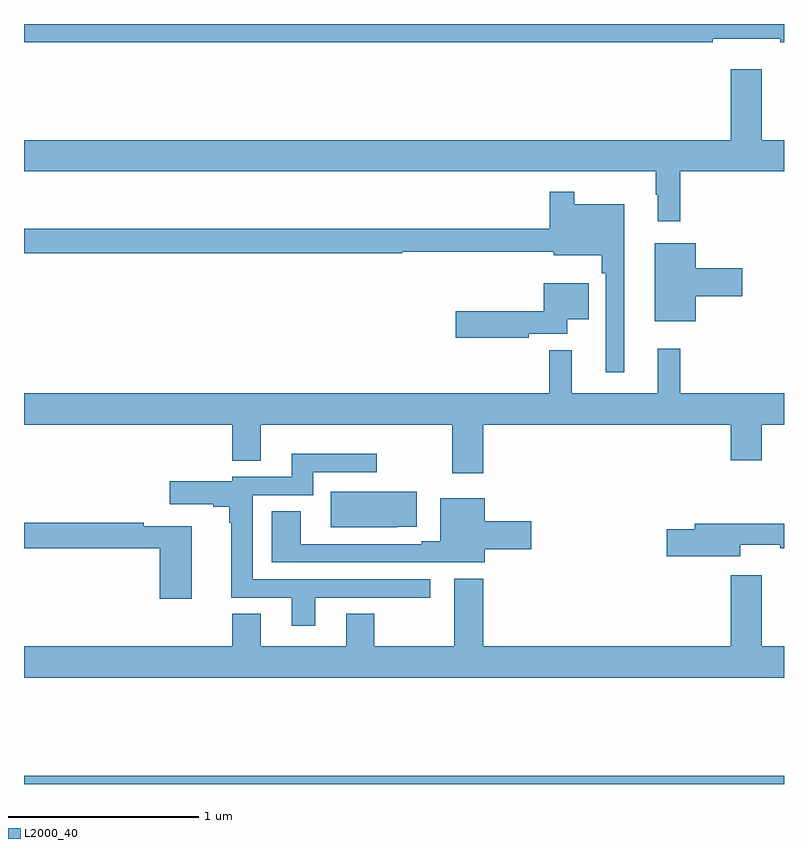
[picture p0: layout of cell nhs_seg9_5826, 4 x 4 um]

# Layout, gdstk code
import gdstk
lib = gdstk.Library(unit=1e-6, precision=1e-09)
def R(c, l, rs):  # rectangles x0, y0, x1, y1
    for r in rs: c.add(gdstk.rectangle(r[:2], r[2:], *l))
def P(c, l, *ps):  # polygons
    for p in ps: c.add(gdstk.Polygon(p, *l))
L2000_40 = (2000, 40)

nhs_seg9_5826 = lib.new_cell('nhs_seg9_5826')
R(nhs_seg9_5826, L2000_40, [(449,1222.5,453,1222.544)])
P(nhs_seg9_5826, L2000_40, [(452.624,1226.423),(452.98,1226.423),(452.98,1226.404),(453,1226.404),(453,1226.5),(449,1226.5),(449,1226.404),(452.624,1226.404)],
  [(452.453,1225.724),(453,1225.724),(453,1225.888),(452.884,1225.888),(452.884,1226.263),(452.72,1226.263),(452.72,1225.888),(449,1225.888),(449,1225.724),(452.325,1225.724),(452.325,1225.601),(452.336,1225.601),(452.336,1225.461),(452.453,1225.461)],
  [(452.158,1225.552),(451.897,1225.552),(451.897,1225.618),(451.768,1225.618),(451.768,1225.423),(449,1225.423),(449,1225.294),(450.991,1225.294),(450.991,1225.302),(451.787,1225.302),(451.787,1225.283),(452.041,1225.283),(452.041,1225.187),(452.061,1225.187),(452.061,1224.666),(452.158,1224.666)],
  [(452.536,1225.067),(452.779,1225.067),(452.779,1225.214),(452.536,1225.214),(452.536,1225.345),(452.321,1225.345),(452.321,1224.935),(452.536,1224.935)],
  [(451.656,1224.869),(451.858,1224.869),(451.858,1224.947),(451.972,1224.947),(451.972,1225.135),(451.736,1225.135),(451.736,1224.987),(451.272,1224.987),(451.272,1224.85),(451.656,1224.85)],
  [(451.418,1224.392),(452.72,1224.392),(452.72,1224.204),(452.884,1224.204),(452.884,1224.392),(453,1224.392),(453,1224.556),(452.453,1224.556),(452.453,1224.79),(452.336,1224.79),(452.336,1224.556),(451.883,1224.556),(451.883,1224.784),(451.765,1224.784),(451.765,1224.556),(449,1224.556),(449,1224.392),(450.095,1224.392),(450.095,1224.202),(450.247,1224.202),(450.247,1224.392),(451.253,1224.392),(451.253,1224.135),(451.418,1224.135)],
  [(450.532,1223.481),(451.138,1223.481),(451.138,1223.577),(450.205,1223.577),(450.205,1224.021),(450.523,1224.021),(450.523,1224.141),(450.856,1224.141),(450.856,1224.238),(450.41,1224.238),(450.41,1224.117),(450.096,1224.117),(450.096,1224.094),(449.766,1224.094),(449.766,1223.972),(449.996,1223.972),(449.996,1223.96),(450.08,1223.96),(450.08,1223.876),(450.092,1223.876),(450.092,1223.481),(450.41,1223.481),(450.41,1223.334),(450.532,1223.334)],
  [(450.965,1223.853),(451.068,1223.853),(451.068,1224.037),(450.614,1224.037),(450.614,1223.852),(450.965,1223.852)],
  [(451.426,1223.735),(451.669,1223.735),(451.669,1223.882),(451.426,1223.882),(451.426,1224.004),(451.19,1224.004),(451.19,1223.777),(451.094,1223.777),(451.094,1223.763),(450.457,1223.763),(450.457,1223.935),(450.305,1223.935),(450.305,1223.667),(451.426,1223.667)],
  [(449.884,1223.856),(449.63,1223.856),(449.63,1223.876),(449,1223.876),(449,1223.74),(449.714,1223.74),(449.714,1223.475),(449.884,1223.475)],
  [(452.77,1223.759),(452.98,1223.759),(452.98,1223.74),(453,1223.74),(453,1223.869),(452.531,1223.869),(452.531,1223.84),(452.382,1223.84),(452.382,1223.698),(452.77,1223.698)],
  [(453,1223.224),(452.884,1223.224),(452.884,1223.599),(452.72,1223.599),(452.72,1223.224),(451.418,1223.224),(451.418,1223.581),(451.265,1223.581),(451.265,1223.224),(450.843,1223.224),(450.843,1223.396),(450.695,1223.396),(450.695,1223.224),(450.247,1223.224),(450.247,1223.396),(450.095,1223.396),(450.095,1223.224),(449,1223.224),(449,1223.06),(453,1223.06)])

lib.write_gds('nhs_seg9_5826.gds')
